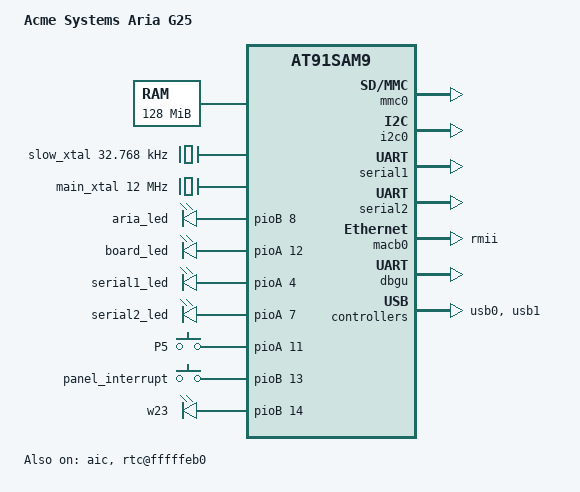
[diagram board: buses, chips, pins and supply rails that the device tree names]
/*
 * acme-aria.dts - Device Tree file for Aria G25 
 *   for Project2 / SIS 11 Device for Kernel >= 4.2
 *
 * by Manzoni Giovanni, thanks to all Linux comunity.
 *
 * 10/02/2016 add hw support and fix errors
 * 02/12/2015 test 
 */
 
/dts-v1/;
#include "at91sam9g25.dtsi"

/ {
	model = "Acme Systems Aria G25";
	compatible = "acme,ariettag25", "atmel,at91sam9x5", "atmel,at91sam9";
	interrupt-parent = <&aic>;

	aliases {
		serial0 = &dbgu;
		serial1 = &usart0; // /dev/ttyS1
		serial2 = &usart1; // /dev/ttyS2
		serial3 = &usart2; // /dev/ttyS3
		serial4 = &usart3; // /dev/ttyS4
		serial5 = &uart0;  // /dev/ttyS5
		serial6 = &uart1;  // /dev/ttyS6
	};

	chosen {
		stdout-path = "serial0:115200n8";
		bootargs = "console=ttyS0,115200 root=/dev/mmcblk0p2 rw rootwait";
	};

	memory {
		/* 128 MB Aria G25 version */
		reg = <0x20000000 0x8000000>;
		/* 256 MB Aria G25 version */
		/* reg = <0x20000000 0x10000000>; */
	};

	clocks {
		slow_xtal: slow_xtal {
			compatible = "atmel,osc", "fixed-clock";
			clock-frequency = <32768>;
		};
		
		main_xtal: main_xtal { 
			compatible = "atmel,osc", "fixed-clock";
			clock-frequency = <12000000>; 
		}; 
	};

	ahb {
		compatible = "simple-bus";
                #address-cells = <1>;
                #size-cells = <1>;
                ranges;

		apb {
			compatible = "simple-bus";
                	#address-cells = <1>;
               	 	#size-cells = <1>;
                	ranges;

			// compatible ="atmel,xxx by kernel documentation";
			// reg = <register dimension>; by memory mapping in datasheet
			// interrupts = <x y z>; 
			//    x: irq number, [0..31] Advanced Interrupt Controller (AIC) 
			//    y: flags: Edge-triggered or Level-sensitive, ex. IRQ_TYPE_LEVEL_HIGH = [0..10], look at Linux/include/linux/irq.h
			//    z: priority ? if yes -> [0..7], 7 = High, 0 = Low
			// dmas <x y z>;
			//    x: DMA Controller number, ex. &dma0, &dma1
			//    y: always 1 ?? consisting of a phandle to DMA controller node, http://stackoverflow.com/questions/31095951/what-is-the-meaning-of-a-phandle-when-used-as-device-tree-node-name
			//    z: DMA Channel Number [0..15] look at datasheet section 30.3 DMA Controller Peripheral Connections
			// dma-names = "tx", "rx"; / "rxtx"; / "rx"; / "tx"; 
			// atmel,fifo-size = <xx>;  see datasheet dma section
			// pinctrl-names = "default"; or custom name, but where it will be put ?
			// clocks = <&mci0_clk>; specific peripheral clk names, see linux kernel doc
			// pinctrl-0 = < xxxxxx > for set specifics pins
			// status = "okay"; for use/enable the peripheral

			aic: interrupt-controller@fffff000 {
                                #interrupt-cells = <3>; // 3 ! cell 1: irq num; cell 2:flag; cell 3: priority.
                                compatible = "atmel,at91rm9200-aic";
                                interrupt-controller;
                                reg = <0xfffff000 0x200>;
				status = "okay";  // ? is it needed ?
				atmel,external-irqs = <31>;  // what about it ?
                        };

			mmc0: mmc@f0008000 {
				compatible = "atmel,hsmci";
				reg = <0xf0008000 0x4000>;
				interrupts = <12 IRQ_TYPE_LEVEL_HIGH 0>; 
                                dmas = <&dma0 1 AT91_DMA_CFG_PER_ID(0)>; 
                                dma-names = "rxtx";
				atmel,fifo-size = <64>;
                                pinctrl-names = "default";
                                clocks = <&mci0_clk>;
                                clock-names = "mci_clk";
                                #address-cells = <1>;
                                #size-cells = <0>;
				pinctrl-0 = <
					&pinctrl_mmc0_slot0_clk_cmd_dat0
					&pinctrl_mmc0_slot0_dat1_3>;
				status = "okay";
				slot@0 {
					reg = <0>;
					bus-width = <4>;
				};
			};

//****************************************************//
// Setup for I2C
//****************************************************//

			i2c0: i2c@f8010000 {
				 compatible = "atmel,at91sam9x5-i2c";
				 reg = <0xf8010000 0x4000>;
                                 interrupts = <9 IRQ_TYPE_LEVEL_HIGH 6>; // 37.6.3
                                 dmas = <&dma0 1 AT91_DMA_CFG_PER_ID(7)>,
                                        <&dma0 1 AT91_DMA_CFG_PER_ID(8)>;
                                 dma-names = "tx", "rx";
				 atmel,fifo-size = <16>;
                                 #address-cells = <1>;
                                 #size-cells = <0>;
                                 pinctrl-names = "default";
                                 pinctrl-0 = <&pinctrl_i2c0>;
                                 clocks = <&twi0_clk>;
				 status = "okay";

				// i2c devices		
			};

			i2c1: i2c@f8014000 {
				 status = "disabled";
			};

//****************************************************//
// Setup for SPI
//****************************************************//
		
			// TWD2+TCLK2 hidden behind ethernet, so no i2c2
			spi1: spi@f0004000 {
                                 status = "disabled";
                    	};

//****************************************************//
// Setup for /dev/ttyS1
//****************************************************//

// /dev/ttyS1 as RS485
/*			serial1: serial@f801c000 { // 38.7.1   USART Control Register
				compatible = "atmel,at91sam9260-usart";
				reg = <0xf801c000 0x4000>; // Figure 5-1. SAM9G25 Memory Mapping
				clocks = <&usart0_clk>;
		                clock-names = "usart";
				pinctrl-names = "default";
				pinctrl-0 = <&pinctrl_usart0 &pinctrl_usart0_rts &pinctrl_usart0_cts>;
				linux,rs485-enabled-at-boot-time;
				rs485-rts-delay = <0 20>; // or <0 0> ? // <a b> a for start of packet, b end of packet in milliseconds
				rs485-rts-active-high; // sets rts active high
				interrupts = <5 IRQ_TYPE_LEVEL_HIGH 4>; // 38.5.3 Interrupt Sources
				atmel,use-dma-rx;
			        atmel,use-dma-tx;
				dmas =  <&dma0 1 AT91_DMA_CFG_PER_ID(3)>,    
					<&dma0 1 (AT91_DMA_CFG_PER_ID(4) | AT91_DMA_CFG_FIFOCFG_ASAP)>;
				dma-names = "tx", "rx"; 
				atmel,fifo-size = <16>;
				status = "okay";
			};
*/

// /dev/ttyS1 RS232 + rts + cts 
			serial1: serial@f801c000 { // 38.7.1   USART Control Register
				compatible = "atmel,at91sam9260-usart";
				reg = <0xf801c000 0x4000>; // Figure 5-1. SAM9G25 Memory Mapping
				clocks = <&usart0_clk>;
		                clock-names = "usart";
				pinctrl-names = "default";
				pinctrl-0 = <&pinctrl_usart0 &pinctrl_usart0_rts &pinctrl_usart0_cts>;
				interrupts = <5 IRQ_TYPE_LEVEL_HIGH 4>; // 38.5.3 Interrupt Sources
				atmel,use-dma-rx;
			        atmel,use-dma-tx;
				dmas =  <&dma0 1 AT91_DMA_CFG_PER_ID(3)>,    
					<&dma0 1 (AT91_DMA_CFG_PER_ID(4) | AT91_DMA_CFG_FIFOCFG_ASAP)>;
				dma-names = "tx", "rx"; 
				atmel,fifo-size = <16>;
				status = "okay";
			};

//****************************************************//
// Setup for /dev/ttyS2
//****************************************************//

// /dev/ttyS2 as RS485 
			serial2: serial@f8020000 { // 38.7.1   USART Control Register
				compatible = "atmel,at91sam9260-usart";
		                reg = <0xf8020000 0x4000>;
				clocks = <&usart1_clk>;
                                clock-names = "usart";
				pinctrl-0 = <&pinctrl_usart1 &pinctrl_usart1_rts &pinctrl_usart1_cts>;
				pinctrl-names = "default";
				linux,rs485-enabled-at-boot-time;
				rs485-rts-delay = <0 20>; // or <0 0> ? // <a b> a for start of packet, b end of packet in milliseconds
				rs485-rts-active-high; // sets rts active high
				interrupts = <6 IRQ_TYPE_LEVEL_HIGH 5>; // = <6 4 5> // 38.5.3 Interrupt Sources
				dma-names = "tx", "rx";
				atmel,use-dma-rx;
		                atmel,use-dma-tx;
				atmel,fifo-size = <16>;
				dmas =  <&dma0 1 AT91_DMA_CFG_PER_ID(5)>,
                                        <&dma0 1 (AT91_DMA_CFG_PER_ID(6) | AT91_DMA_CFG_FIFOCFG_ASAP)>;
				status ="okay";			
			};

//****************************************************//
// Unused serials
//****************************************************//

			serial3: serial@f8024000 {
				status = "disabled";
			};

			serial4: serial@f8028000 {
				status = "disabled";
			};

			macb0: ethernet@f802c000 {
				phy-mode = "rmii";
				local-mac-address = [00 00 00 00 00 00];
				status = "okay";
			};

			serial5: serial@f8040000 {
				status = "disabled";
			};

			serial6: serial@f8044000 {
				status = "disabled";
			};

//****************************************************//
// ADC
//****************************************************//

			adc0: adc@f804c000 {
				status = "disabled";
			};

//****************************************************//
// PWM
//****************************************************//

			pwm0: pwm@f8034000 {
				status = "disabled";
			};

//****************************************************//
// Debug port
//****************************************************//

			dbgu: serial@fffff200 {
				// with dma on tx and rx
				compatible = "atmel,at91sam9260-dbgu", "atmel,at91sam9260-usart";
				reg = <0xfffff200 0x200>; // Figure 5-1. SAM9G25 Memory Mapping
				interrupts = <1 IRQ_TYPE_LEVEL_HIGH 7>;
                                pinctrl-names = "default";
                                pinctrl-0 = <&pinctrl_dbgu>;
				clocks = <&mck>;  
                                clock-names = "usart";
				status = "okay";
			};

//****************************************************//
// Real time control
//****************************************************//

			rtc@fffffeb0 {
				compatible = "atmel,at91sam9x5-rtc";
				reg = <0xfffffeb0 0x10>;
				clocks = <&clk32k>;
				// Atmel errata without fix:  Interrupt Mask Register cannot be used
				//interrupts = <1 IRQ_TYPE_LEVEL_HIGH 7>;
				status = "okay";
			};
		};

		usb0: ohci@00600000 {
			status = "okay";
			num-ports = <3>;
		};

		usb1: ehci@00700000 {
			status = "okay";
		};
	};

//****************************************************//
// Fixed led and buttons
//****************************************************//

	leds {

		compatible = "gpio-leds";

		aria_led {
			label = "aria_led";
			gpios = <&pioB 8 GPIO_ACTIVE_HIGH>; /* PB8 */ 
			linux,default-trigger = "cpu0";
		};

                board_led {
                        label = "board_led";
                        gpios = <&pioA 12 GPIO_ACTIVE_HIGH>; // PA12 S11
                        linux,default-trigger = "timer"; // blink
			default-state = "on";
                };

                serial1_led {
                        label = "serial1_led";
                        gpios = <&pioA 4 GPIO_ACTIVE_HIGH>; // PA4 S19
                        linux,default-trigger = "none";
			default-state = "off";
                };

                serial2_led {
                        label = "serial2_led";
                        gpios = <&pioA 7 GPIO_ACTIVE_HIGH>; // PA7 S16
                        linux,default-trigger = "none";
			default-state = "off";
                };
	};

	buttons {
		compatible = "gpio-keys";

		P5 {
			label = "P5";
			gpios = <&pioA 11 GPIO_ACTIVE_HIGH>;      // PA11  
		//	interrupt-parent = <&pioA>; // is needed ?
		//	interrupts = <31 IRQ_TYPE_EDGE_FALLING 0>; 
			linux,code = <108>; // key_code == KEY_DOWN
			gpio-key,wakeup;
		};

	};

//****************************************************//
// Setup for pin of header P1 for connect panel
//****************************************************//
	from_panel {
		compatible = "gpio-keys";

		w22 {
			label = "panel_interrupt";
			gpios = <&pioB 13 GPIO_ACTIVE_HIGH>;      // PB13 W22  
		//	interrupt-parent = <&pioB>; // is needed ?
		//	interrupts = <31 IRQ_TYPE_EDGE_FALLING 0>; // what put here if needed?
			linux,code = <103>; // key_code == KEY_UP
			gpio-key,wakeup;
		};
	};

	to_panel {
		compatible = "gpio-leds";

		w23 { 
			label = "w23";
			gpios = <&pioB 14 GPIO_ACTIVE_HIGH>; // PB14 W23
			linux,default-trigger = "none";
			default-state = "off";
		};

	};

//***********************************************************//
// Alternative use of w22 and w23, all as generic output pin
//***********************************************************//

/*
	header_P1 { // all as output
		compatible = "gpio-leds";

		w22 { // possible pwm
			label = "w22";
			gpios = <&pioB 13 GPIO_ACTIVE_HIGH>; // PB13 W22 
			linux,default-trigger = "none";
			default-state = "off";
		};
		w23 { // possible pwm 
			label = "w23";
			gpios = <&pioB 14 GPIO_ACTIVE_HIGH>; // PB14 W23
			linux,default-trigger = "none";
			default-state = "off";
		};
	};
*/
};

